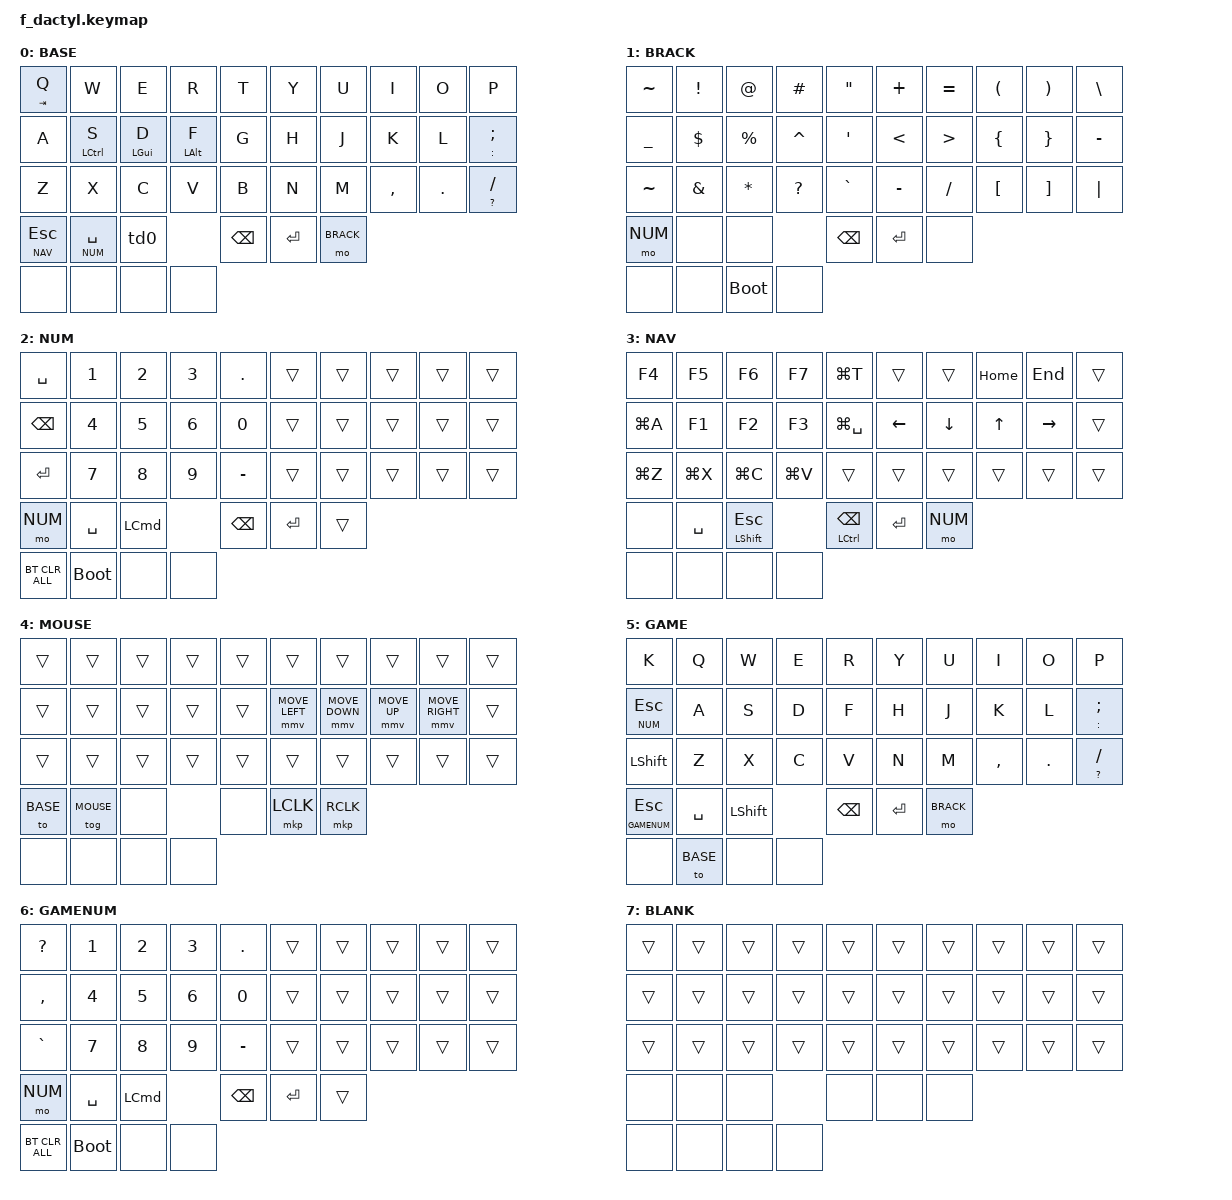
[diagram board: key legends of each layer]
#include <behaviors.dtsi>
#include <dt-bindings/zmk/keys.h>
#include <dt-bindings/zmk/pointing.h>
#include <dt-bindings/zmk/bt.h>
#include <dt-bindings/zmk/mouse.h>
#define BASE  0
#define BRACK 1
#define NUM   2
#define NAV   3
#define MOUSE 4
#define GAME    5
#define GAMENUM 6


/ {
  combos {
        compatible = "zmk,combos";
        combo_tmux {
            timeout-ms = <50>;
            key-positions = <11 30>;
            bindings = <&kp LC(N)>;
        };
		combo_bs_word {
            timeout-ms = <50>;
            key-positions = <1 33>;
            bindings = <&kp LC(BSPC)>;
        };
		combo_bs_line {
            timeout-ms = <50>;
            key-positions = <3 33>;
            bindings = <&kp LG(BSPC)>;
        };

    };

behaviors {
        td0: tap_dance_0 {
            compatible = "zmk,behavior-tap-dance";
            #binding-cells = <0>;
            tapping-term-ms = <200>;
            bindings = <&kp LSHIFT>, <&mo BRACK>;
        };
        mt1: mod_tap {
            compatible = "zmk,behavior-hold-tap";
            #binding-cells = <2>;
            flavor = "balanced";
            tapping-term-ms = <200>;
            bindings = <&kp>, <&kp>;
            display-name = "Mod-Tap";
        };
       hml: home_row_mod_left {
            compatible = "zmk,behavior-hold-tap";
            #binding-cells = <2>;
            flavor = "balanced";
            require-prior-idle-ms = <150>;
            tapping-term-ms = <280>;
            quick-tap-ms = <175>;
            bindings = <&kp>, <&kp>;
            hold-trigger-key-positions = <16 17 18>; // List of keys on the right side of the keyboard
            hold-trigger-on-release;
        };
        hmr: home_row_mod_right {
            compatible = "zmk,behavior-hold-tap";
            #binding-cells = <2>;
            flavor = "balanced";
            require-prior-idle-ms = <150>;
            tapping-term-ms = <280>;
            quick-tap-ms = <175>;
            bindings = <&kp>, <&kp>;
            hold-trigger-key-positions = <11 12 13>; // List of keys on the left side of the keyboard
            hold-trigger-on-release;
        };
    };
		keymap {
		  compatible = "zmk,keymap";

		  default_layer {
			label = "BASE";
			bindings = <
			  &mt TAB Q    &kp W    &kp E       &kp R          &kp T    &kp Y    &kp U    &kp I    &kp O    &kp P

			  &kp A    &hml LCTRL S &hml LGUI D &hml LALT F    &kp G    &kp H    &kp J    &kp K    &kp L    &mt COLON SEMI

			  &kp Z    &kp X    &kp C    &kp V    &kp B    &kp N    &kp M    &kp COMMA    &kp DOT    &mt QMARK FSLH

						     &lt NAV ESC    &lt NUM SPACE    &td0    &kp BSPC    &kp RET    &mo BRACK

				                        &none    &none    &none    &none
			>;
		  };

		  symbols {
			label = "BRACK";
			bindings = <
			  &kp TILDE    &kp EXCL    &kp AT    &kp HASH    &kp DQT    &kp PLUS    &kp EQUAL    &kp LPAR    &kp RPAR    &kp BSLH

			  &kp UNDER    &kp DLLR    &kp PRCNT    &kp CARET    &kp SQT    &kp LT    &kp GT    &kp LBRC    &kp RBRC    &kp MINUS

			  &kp TILDE    &kp AMPS    &kp STAR    &kp QMARK    &kp GRAVE    &kp MINUS    &kp FSLH    &kp LBKT    &kp RBKT    &kp PIPE

				&mo NUM    &none    &none    &kp BSPC    &kp RET    &none

				  &none    &none    &bootloader    &none
			>;
		  };

		  numbers {
			label = "NUM";
			bindings = <
			  &kp SPACE    &kp N1    &kp N2    &kp N3    &kp DOT    &trans    &trans    &trans    &trans    &trans

			  &kp BSPC    &kp N4    &kp N5    &kp N6    &kp N0    &trans    &trans    &trans    &trans    &trans

			  &kp RET    &kp N7    &kp N8    &kp N9    &kp MINUS    &trans    &trans    &trans    &trans    &trans

				&mo NUM    &kp SPACE    &kp LCMD    &kp BSPC    &kp RET    &trans

				  &bt BT_CLR_ALL    &bootloader    &none    &none
			>;
		  };

		  navigation {
			label = "NAV";
			bindings = <
			  &kp F4    &kp F5    &kp F6    &kp F7    &kp LG(T)    &trans    &trans    &kp HOME    &kp END    &trans

			  &kp LG(A)    &kp F1    &kp F2    &kp F3    &kp LG(SPACE)    &kp LEFT    &kp DOWN    &kp UP    &kp RIGHT    &trans

			  &kp LG(Z)    &kp LG(X)    &kp LG(C)    &kp LG(V)    &trans    &trans    &trans    &trans    &trans    &trans

				&none    &kp SPACE    &mt LSHFT ESC    &mt LCTRL BSPC    &kp RET    &mo NUM

				  &none    &none    &none    &none
			>;
		  };

		  mouse {
			label = "MOUSE";
			bindings = <
			  &trans    &trans    &trans    &trans    &trans    &trans    &trans    &trans    &trans    &trans

			  &trans    &trans    &trans    &trans    &trans    &mmv MOVE_LEFT    &mmv MOVE_DOWN    &mmv MOVE_UP    &mmv MOVE_RIGHT    &trans

			  &trans    &trans    &trans    &trans    &trans    &trans    &trans    &trans    &trans    &trans

				&to BASE    &tog MOUSE    &none    &none    &mkp LCLK    &mkp RCLK

				  &none    &none    &none    &none
			>;
		  };

		  gaming_base {
			label = "GAME";
			bindings = <
			  &kp K    &kp Q    &kp W       &kp E          &kp R    &kp Y    &kp U    &kp I    &kp O    &kp P

			  &lt NUM ESCAPE    &kp A &kp S &kp D    &kp F    &kp H    &kp J    &kp K    &kp L    &mt COLON SEMI

			  &kp LSHFT    &kp Z    &kp X    &kp C    &kp V    &kp N    &kp M    &kp COMMA    &kp DOT    &mt QMARK FSLH

						     &lt GAMENUM ESCAPE    &kp SPACE    &kp LSHFT    &kp BSPC    &kp RET    &mo BRACK

				                        &none    &to BASE    &none    &none
			>;
		  };
				gaming_numbers {
			label = "GAMENUM";
			bindings = <
			  &kp QMARK    &kp N1    &kp N2    &kp N3    &kp DOT    &trans    &trans    &trans    &trans    &trans

			  &kp COMMA    &kp N4    &kp N5    &kp N6    &kp N0    &trans    &trans    &trans    &trans    &trans

			  &kp GRAVE    &kp N7    &kp N8    &kp N9    &kp MINUS    &trans    &trans    &trans    &trans    &trans

				&mo NUM    &kp SPACE    &kp LCMD    &kp BSPC    &kp RET    &trans

				  &bt BT_CLR_ALL    &bootloader    &none    &none
			>;
		  };


		  blank {
			label = "BLANK";
			bindings = <
			  &trans    &trans    &trans    &trans    &trans    &trans    &trans    &trans    &trans    &trans

			  &trans    &trans    &trans    &trans    &trans    &trans    &trans    &trans    &trans    &trans

			  &trans    &trans    &trans    &trans    &trans    &trans    &trans    &trans    &trans    &trans

				&none    &none    &none    &none    &none    &none

				  &none    &none    &none    &none
			>;
		  };
		};
};
